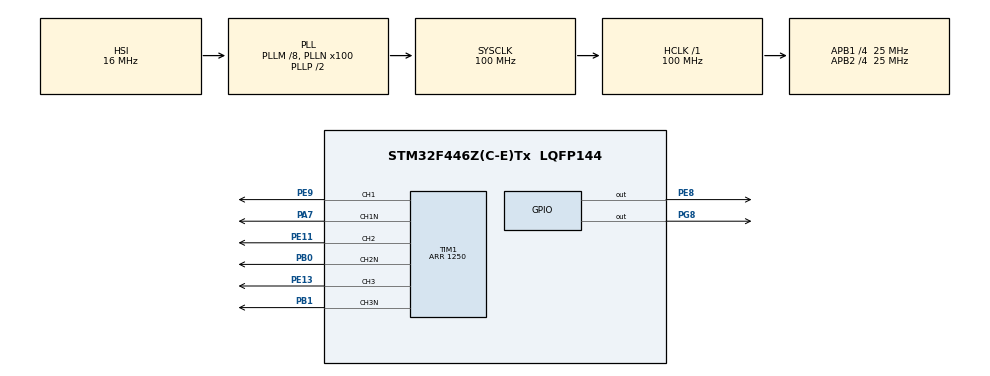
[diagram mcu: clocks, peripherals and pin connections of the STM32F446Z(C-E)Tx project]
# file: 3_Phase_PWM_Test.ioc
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Mcu.Family=STM32F4
Mcu.Name=STM32F446Z(C-E)Tx
Mcu.Package=LQFP144
NVIC.PriorityGroup=NVIC_PRIORITYGROUP_4
NVIC.TIM1_UP_TIM10_IRQn=true\:0\:0\:false\:false\:true\:true\:true\:true
NVIC.TIM2_IRQn=true\:0\:0\:false\:false\:true\:true\:true\:true
PA7.Mode=PWM Generation1 CH1 CH1N
PA7.Signal=TIM1_CH1N
PB0.Mode=PWM Generation2 CH2 CH2N
PB0.Signal=TIM1_CH2N
PB1.Mode=PWM Generation3 CH3 CH3N
PB1.Signal=TIM1_CH3N
PC14-OSC32_IN.Mode=LSE-External-Oscillator
PC14-OSC32_IN.Signal=RCC_OSC32_IN
PC15-OSC32_OUT.Mode=LSE-External-Oscillator
PC15-OSC32_OUT.Signal=RCC_OSC32_OUT
PE11.Signal=S_TIM1_CH2
PE13.Signal=S_TIM1_CH3
PE8.GPIO_PuPd=GPIO_NOPULL
PE8.GPIO_Speed=GPIO_SPEED_FREQ_HIGH
PE8.PinState=GPIO_PIN_RESET
PE8.Signal=GPIO_Output
PE9.Signal=S_TIM1_CH1
PG8.Signal=GPIO_Output
PH0-OSC_IN.Mode=HSE-External-Oscillator
PH0-OSC_IN.Signal=RCC_OSC_IN
PH1-OSC_OUT.Mode=HSE-External-Oscillator
PH1-OSC_OUT.Signal=RCC_OSC_OUT
ProjectManager.HeapSize=0x200
ProjectManager.StackSize=0x400
ProjectManager.TargetToolchain=STM32CubeIDE
RCC.AHBFreq_Value=100000000
RCC.APB1CLKDivider=RCC_HCLK_DIV4
RCC.APB1Freq_Value=25000000
RCC.APB1TimFreq_Value=50000000
RCC.APB2CLKDivider=RCC_HCLK_DIV4
RCC.APB2Freq_Value=25000000
RCC.APB2TimFreq_Value=50000000
RCC.CortexFreq_Value=100000000
RCC.HCLKFreq_Value=100000000
RCC.PLLM=8
RCC.PLLN=100
RCC.SYSCLKFreq_VALUE=100000000
RCC.SYSCLKSource=RCC_SYSCLKSOURCE_PLLCLK
RCC.USBFreq_Value=100000000
RCC.VCOOutputFreq_Value=200000000
SH.S_TIM1_CH1.0=TIM1_CH1,PWM Generation1 CH1 CH1N
SH.S_TIM1_CH2.0=TIM1_CH2,PWM Generation2 CH2 CH2N
SH.S_TIM1_CH3.0=TIM1_CH3,PWM Generation3 CH3 CH3N
TIM1.AutoReloadPreload=TIM_AUTORELOAD_PRELOAD_ENABLE
TIM1.AutomaticOutput=TIM_AUTOMATICOUTPUT_ENABLE
TIM1.BreakState=TIM_BREAK_DISABLE
TIM1.Channel-PWM\ Generation1\ CH1\ CH1N=TIM_CHANNEL_1
TIM1.Channel-PWM\ Generation2\ CH2\ CH2N=TIM_CHANNEL_2
TIM1.Channel-PWM\ Generation3\ CH3\ CH3N=TIM_CHANNEL_3
TIM1.CounterMode=TIM_COUNTERMODE_CENTERALIGNED3
TIM1.DeadTime=100
TIM1.OffStateIDLEMode=TIM_OSSI_ENABLE
TIM1.OffStateRunMode=TIM_OSSR_ENABLE
TIM1.Period=1250
TIM1.Pulse-PWM\ Generation1\ CH1\ CH1N=200
TIM1.Pulse-PWM\ Generation2\ CH2\ CH2N=200
TIM1.Pulse-PWM\ Generation3\ CH3\ CH3N=200
TIM1.TIM_MasterOutputTrigger=TIM_TRGO_UPDATE
TIM1.TIM_MasterSlaveMode=TIM_MASTERSLAVEMODE_ENABLE
TIM2.AutoReloadPreload=TIM_AUTORELOAD_PRELOAD_ENABLE
TIM2.CounterMode=TIM_COUNTERMODE_UP
TIM2.Period=2499
TIM2.TIM_MasterOutputTrigger=TIM_TRGO_ENABLE
VP_TIM1_VS_ClockSourceINT.Mode=Internal
VP_TIM2_VS_ClockSourceINT.Mode=Internal
VP_TIM2_VS_ClockSourceITR.Mode=TriggerSource_ITR0
VP_TIM2_VS_ControllerModeTrigger.Mode=Trigger Mode
board=custom

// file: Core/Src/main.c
/* USER CODE BEGIN Header */
/**
  ******************************************************************************
  * @file           : main.c
  * @brief          : Main program body
  ******************************************************************************
  * @attention
  *
  * Copyright (c) 2026 STMicroelectronics.
  * All rights reserved.
  *
  * This software is licensed under terms that can be found in the LICENSE file
  * in the root directory of this software component.
  * If no LICENSE file comes with this software, it is provided AS-IS.
  *
  ******************************************************************************
  */
/* USER CODE END Header */
#include "main.h"

/* USER CODE BEGIN PTD */
#include <math.h>
/* USER CODE END PTD */

/* USER CODE BEGIN PD */
#define USE_SVPWM // SVPWM Toggle Comment to disable
/* USER CODE END PD */

TIM_HandleTypeDef htim1;
TIM_HandleTypeDef htim2;

void SystemClock_Config(void);
static void MX_GPIO_Init(void);
static void MX_TIM1_Init(void);
static void MX_TIM2_Init(void);

/* USER CODE BEGIN 0 */
#define PI 3.14159265358979323846f
#define DEG2RAD(deg) ((deg) * (PI / 180.0f))

typedef struct {
	float theta;
	float freq; // Freq in Hz
	float dt; // PWM Freq
	float w; // Freq in Rad/s

	float Va;
	float Vb;
	float Vc;

	float MinMax;

	float PWM_A;
	float PWM_B;
	float PWM_C;
} Freq_Param;

typedef struct {
	uint8_t PWM_MODE;
} Op_Mode;

Freq_Param Freq = {
		.dt = 1/(20e3),
		.freq = 0.2, // 50 Hz adjustable
		.theta = 0.0, // 0 Rad initial
		.w = 0.0,
		.PWM_A = 0,
		.PWM_B = 0,
		.PWM_C = 0,
		.MinMax = 0.0
};

Op_Mode Operation_Mode = {
		.PWM_MODE = 2 // 1. Geometric SVPWM , 2. Min-Max Injection , Default SINE PWM
};

void Calculate_Angle (void)
{

	Freq.w = 2*PI*Freq.freq;
	Freq.theta = fmodf(Freq.theta, 2*PI);

	Freq.Va = (1*cos(Freq.theta));
	Freq.Vb = (1*cos(Freq.theta - DEG2RAD(120)));
	Freq.Vc = (1*cos(Freq.theta + DEG2RAD(120)));

	#ifdef USE_SVPWM

	switch (Operation_Mode.PWM_MODE) {
	case 1:
    // 3rd Harmonic Injection (Geometric SVPWM)

	case 2:
		// 3rd Harmonic Injection (MinMax Injection)
		Freq.MinMax = 0.5f * (fmaxf(Freq.Va,fmaxf(Freq.Vb, Freq.Vc)) + fminf(Freq.Va, fminf(Freq.Vb, Freq.Vc)));
		Freq.Va = Freq.Va - Freq.MinMax;
		Freq.Vb = Freq.Vb - Freq.MinMax;
		Freq.Vc = Freq.Vc - Freq.MinMax;

	case 3:
	default:
		break;
	}

	#endif
	 // Normalize + 0.5
	Freq.Va = Freq.Va/2 + 0.5;
	Freq.Vb = Freq.Vb/2 + 0.5;
	Freq.Vc = Freq.Vc/2 + 0.5;

	Freq.PWM_A = (Freq.Va)*(htim1.Init.Period);
	Freq.PWM_B = (Freq.Vb)*(htim1.Init.Period);
	Freq.PWM_C = (Freq.Vc)*(htim1.Init.Period);
}

// HAL_TIM_PeriodElapsedCallback -> For timer counter overflow interrupt
void HAL_TIM_PeriodElapsedCallback(TIM_HandleTypeDef *htim) {
	if (htim->Instance == TIM1)
	{

		HAL_GPIO_WritePin(GPIOE, GPIO_PIN_8, GPIO_PIN_SET);

		Freq.theta += Freq.w * Freq.dt;
		TIM1->CCR1 = (uint16_t)(Freq.PWM_A);
		TIM1->CCR2 = (uint16_t)(Freq.PWM_B);
		TIM1->CCR3 = (uint16_t)(Freq.PWM_C);

		HAL_GPIO_WritePin(GPIOE, GPIO_PIN_8, GPIO_PIN_RESET);
	        // Your code to run on each period elapsed event (overflow/underflow)
	        // In Mode 3, this happens twice per PWM period (at the top and bottom of the count)
	        // You might use a state variable or the repetition counter (if available)
	        // to handle events that should only happen once per cycle.
  }

  if (htim->Instance == TIM2) //Run on each period elapsed event for TIM2
  {
    HAL_GPIO_WritePin(GPIOG, GPIO_PIN_8, GPIO_PIN_SET);
    HAL_GPIO_WritePin(GPIOG, GPIO_PIN_8, GPIO_PIN_RESET);
  }
}

/* USER CODE END 0 */

int main(void)
{

  /* MCU Configuration--------------------------------------------------------*/

  /* Reset of all peripherals, Initializes the Flash interface and the Systick. */
  HAL_Init();

  /* Configure the system clock */
  SystemClock_Config();

  /* Initialize all configured peripherals */
  MX_GPIO_Init();
  MX_TIM1_Init();
  MX_TIM2_Init();
  /* USER CODE BEGIN 2 */
  HAL_TIM_Base_Start_IT(&htim2); //Trigger Start
  HAL_TIM_Base_Start_IT(&htim1);

  // Enable PWM outputs for all 3 channels and their complementary outputs
  HAL_TIM_PWM_Start(&htim1, TIM_CHANNEL_1);
  HAL_TIMEx_PWMN_Start(&htim1, TIM_CHANNEL_1);

  HAL_TIM_PWM_Start(&htim1, TIM_CHANNEL_2);
  HAL_TIMEx_PWMN_Start(&htim1, TIM_CHANNEL_2);

  HAL_TIM_PWM_Start(&htim1, TIM_CHANNEL_3);
  HAL_TIMEx_PWMN_Start(&htim1, TIM_CHANNEL_3);
  /* USER CODE END 2 */

  /* Infinite loop */
  while (1)
  {

    /* USER CODE BEGIN 3 */
    Calculate_Angle();
  }
  /* USER CODE END 3 */
}

void SystemClock_Config(void)
{
  RCC_OscInitTypeDef RCC_OscInitStruct = {0};
  RCC_ClkInitTypeDef RCC_ClkInitStruct = {0};

  /** Configure the main internal regulator output voltage
  */
  __HAL_RCC_PWR_CLK_ENABLE();
  __HAL_PWR_VOLTAGESCALING_CONFIG(PWR_REGULATOR_VOLTAGE_SCALE3);

  /** Initializes the RCC Oscillators according to the specified parameters
  * in the RCC_OscInitTypeDef structure.
  */
  RCC_OscInitStruct.OscillatorType = RCC_OSCILLATORTYPE_HSI;
  RCC_OscInitStruct.HSIState = RCC_HSI_ON;
  RCC_OscInitStruct.HSICalibrationValue = RCC_HSICALIBRATION_DEFAULT;
  RCC_OscInitStruct.PLL.PLLState = RCC_PLL_ON;
  RCC_OscInitStruct.PLL.PLLSource = RCC_PLLSOURCE_HSI;
  RCC_OscInitStruct.PLL.PLLM = 8;
  RCC_OscInitStruct.PLL.PLLN = 100;
  RCC_OscInitStruct.PLL.PLLP = RCC_PLLP_DIV2;
  RCC_OscInitStruct.PLL.PLLQ = 2;
  RCC_OscInitStruct.PLL.PLLR = 2;
  if (HAL_RCC_OscConfig(&RCC_OscInitStruct) != HAL_OK)
  {
    Error_Handler();
  }

  /** Initializes the CPU, AHB and APB buses clocks
  */
  RCC_ClkInitStruct.ClockType = RCC_CLOCKTYPE_HCLK|RCC_CLOCKTYPE_SYSCLK
                              |RCC_CLOCKTYPE_PCLK1|RCC_CLOCKTYPE_PCLK2;
  RCC_ClkInitStruct.SYSCLKSource = RCC_SYSCLKSOURCE_PLLCLK;
  RCC_ClkInitStruct.AHBCLKDivider = RCC_SYSCLK_DIV1;
  RCC_ClkInitStruct.APB1CLKDivider = RCC_HCLK_DIV4;
  RCC_ClkInitStruct.APB2CLKDivider = RCC_HCLK_DIV4;

  if (HAL_RCC_ClockConfig(&RCC_ClkInitStruct, FLASH_LATENCY_3) != HAL_OK)
  {
    Error_Handler();
  }
}

static void MX_TIM1_Init(void)
{

  TIM_ClockConfigTypeDef sClockSourceConfig = {0};
  TIM_MasterConfigTypeDef sMasterConfig = {0};
  TIM_OC_InitTypeDef sConfigOC = {0};
  TIM_BreakDeadTimeConfigTypeDef sBreakDeadTimeConfig = {0};

  htim1.Instance = TIM1;
  htim1.Init.Prescaler = 0;
  htim1.Init.CounterMode = TIM_COUNTERMODE_CENTERALIGNED3;
  htim1.Init.Period = 1250;
  htim1.Init.ClockDivision = TIM_CLOCKDIVISION_DIV1;
  htim1.Init.RepetitionCounter = 0;
  htim1.Init.AutoReloadPreload = TIM_AUTORELOAD_PRELOAD_ENABLE;
  if (HAL_TIM_Base_Init(&htim1) != HAL_OK)
  {
    Error_Handler();
  }
  sClockSourceConfig.ClockSource = TIM_CLOCKSOURCE_INTERNAL;
  if (HAL_TIM_ConfigClockSource(&htim1, &sClockSourceConfig) != HAL_OK)
  {
    Error_Handler();
  }
  if (HAL_TIM_PWM_Init(&htim1) != HAL_OK)
  {
    Error_Handler();
  }
  sMasterConfig.MasterOutputTrigger = TIM_TRGO_UPDATE;
  sMasterConfig.MasterSlaveMode = TIM_MASTERSLAVEMODE_ENABLE;
  if (HAL_TIMEx_MasterConfigSynchronization(&htim1, &sMasterConfig) != HAL_OK)
  {
    Error_Handler();
  }
  sConfigOC.OCMode = TIM_OCMODE_PWM1;
  sConfigOC.Pulse = 200;
  sConfigOC.OCPolarity = TIM_OCPOLARITY_HIGH;
  sConfigOC.OCNPolarity = TIM_OCNPOLARITY_HIGH;
  sConfigOC.OCFastMode = TIM_OCFAST_DISABLE;
  sConfigOC.OCIdleState = TIM_OCIDLESTATE_RESET;
  sConfigOC.OCNIdleState = TIM_OCNIDLESTATE_RESET;
  if (HAL_TIM_PWM_ConfigChannel(&htim1, &sConfigOC, TIM_CHANNEL_1) != HAL_OK)
  {
    Error_Handler();
  }
  if (HAL_TIM_PWM_ConfigChannel(&htim1, &sConfigOC, TIM_CHANNEL_2) != HAL_OK)
  {
    Error_Handler();
  }
  if (HAL_TIM_PWM_ConfigChannel(&htim1, &sConfigOC, TIM_CHANNEL_3) != HAL_OK)
  {
    Error_Handler();
  }
  sBreakDeadTimeConfig.OffStateRunMode = TIM_OSSR_ENABLE;
  sBreakDeadTimeConfig.OffStateIDLEMode = TIM_OSSI_ENABLE;
  sBreakDeadTimeConfig.LockLevel = TIM_LOCKLEVEL_OFF;
  sBreakDeadTimeConfig.DeadTime = 25;
  sBreakDeadTimeConfig.BreakState = TIM_BREAK_DISABLE;
  sBreakDeadTimeConfig.BreakPolarity = TIM_BREAKPOLARITY_HIGH;
  sBreakDeadTimeConfig.AutomaticOutput = TIM_AUTOMATICOUTPUT_ENABLE;
  if (HAL_TIMEx_ConfigBreakDeadTime(&htim1, &sBreakDeadTimeConfig) != HAL_OK)
  {
    Error_Handler();
  }
  HAL_TIM_MspPostInit(&htim1);

}

static void MX_TIM2_Init(void)
{

  TIM_ClockConfigTypeDef sClockSourceConfig = {0};
  TIM_SlaveConfigTypeDef sSlaveConfig = {0};
  TIM_MasterConfigTypeDef sMasterConfig = {0};

  htim2.Instance = TIM2;
  htim2.Init.Prescaler = 0;
  htim2.Init.CounterMode = TIM_COUNTERMODE_UP;
  htim2.Init.Period = 2499;
  htim2.Init.ClockDivision = TIM_CLOCKDIVISION_DIV1;
  htim2.Init.AutoReloadPreload = TIM_AUTORELOAD_PRELOAD_ENABLE;
  if (HAL_TIM_Base_Init(&htim2) != HAL_OK)
  {
    Error_Handler();
  }
  sClockSourceConfig.ClockSource = TIM_CLOCKSOURCE_INTERNAL;
  if (HAL_TIM_ConfigClockSource(&htim2, &sClockSourceConfig) != HAL_OK)
  {
    Error_Handler();
  }
  sSlaveConfig.SlaveMode = TIM_SLAVEMODE_TRIGGER;
  sSlaveConfig.InputTrigger = TIM_TS_ITR0;
  if (HAL_TIM_SlaveConfigSynchro(&htim2, &sSlaveConfig) != HAL_OK)
  {
    Error_Handler();
  }
  sMasterConfig.MasterOutputTrigger = TIM_TRGO_ENABLE;
  sMasterConfig.MasterSlaveMode = TIM_MASTERSLAVEMODE_DISABLE;
  if (HAL_TIMEx_MasterConfigSynchronization(&htim2, &sMasterConfig) != HAL_OK)
  {
    Error_Handler();
  }

}

static void MX_GPIO_Init(void)
{
  GPIO_InitTypeDef GPIO_InitStruct = {0};

  /* GPIO Ports Clock Enable */
  __HAL_RCC_GPIOC_CLK_ENABLE();
  __HAL_RCC_GPIOH_CLK_ENABLE();
  __HAL_RCC_GPIOA_CLK_ENABLE();
  __HAL_RCC_GPIOB_CLK_ENABLE();
  __HAL_RCC_GPIOE_CLK_ENABLE();
  __HAL_RCC_GPIOG_CLK_ENABLE();

  /*Configure GPIO pin Output Level */
  HAL_GPIO_WritePin(GPIOE, GPIO_PIN_8, GPIO_PIN_RESET);

  /*Configure GPIO pin Output Level */
  HAL_GPIO_WritePin(GPIOG, GPIO_PIN_8, GPIO_PIN_RESET);

  /*Configure GPIO pin : PE8 */
  GPIO_InitStruct.Pin = GPIO_PIN_8;
  GPIO_InitStruct.Mode = GPIO_MODE_OUTPUT_PP;
  GPIO_InitStruct.Pull = GPIO_NOPULL;
  GPIO_InitStruct.Speed = GPIO_SPEED_FREQ_HIGH;
  HAL_GPIO_Init(GPIOE, &GPIO_InitStruct);

  /*Configure GPIO pin : PG8 */
  GPIO_InitStruct.Pin = GPIO_PIN_8;
  GPIO_InitStruct.Mode = GPIO_MODE_OUTPUT_PP;
  GPIO_InitStruct.Pull = GPIO_NOPULL;
  GPIO_InitStruct.Speed = GPIO_SPEED_FREQ_LOW;
  HAL_GPIO_Init(GPIOG, &GPIO_InitStruct);

}

void Error_Handler(void)
{
  __disable_irq();
  while (1)
  {
  }
}
